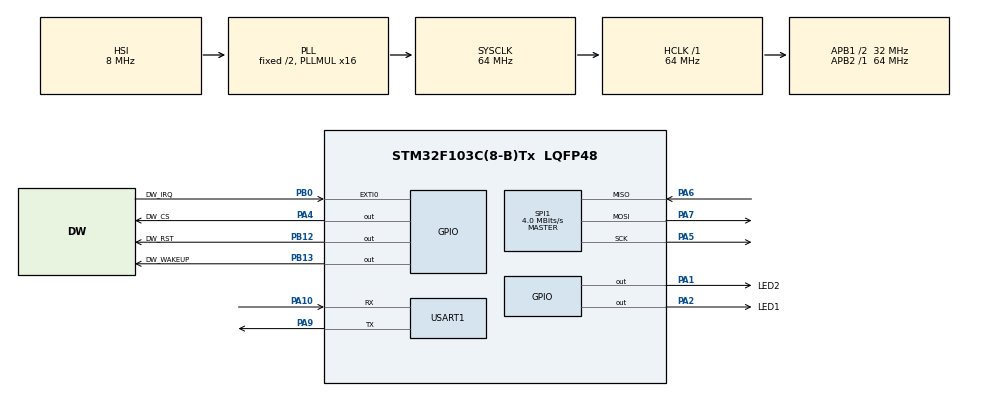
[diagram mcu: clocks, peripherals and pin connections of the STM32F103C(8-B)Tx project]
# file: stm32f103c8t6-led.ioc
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Mcu.Family=STM32F1
Mcu.Name=STM32F103C(8-B)Tx
Mcu.Package=LQFP48
NVIC.PriorityGroup=NVIC_PRIORITYGROUP_4
PA1.GPIO_Label=LED2
PA1.Signal=GPIO_Output
PA10.Mode=Asynchronous
PA10.Signal=USART1_RX
PA13.Mode=Serial_Wire
PA13.Signal=SYS_JTMS-SWDIO
PA14.Mode=Serial_Wire
PA14.Signal=SYS_JTCK-SWCLK
PA2.GPIO_Label=LED1
PA2.Signal=GPIO_Output
PA4.GPIO_Label=DW_CS
PA4.GPIO_Speed=GPIO_SPEED_FREQ_HIGH
PA4.PinState=GPIO_PIN_SET
PA4.Signal=GPIO_Output
PA5.Mode=Full_Duplex_Master
PA5.Signal=SPI1_SCK
PA6.Mode=Full_Duplex_Master
PA6.Signal=SPI1_MISO
PA7.Mode=Full_Duplex_Master
PA7.Signal=SPI1_MOSI
PA9.Mode=Asynchronous
PA9.Signal=USART1_TX
PB0.GPIO_Label=DW_IRQ
PB0.Signal=GPXTI0
PB12.GPIO_Label=DW_RST
PB12.GPIO_PuPd=GPIO_NOPULL
PB12.GPIO_Speed=GPIO_SPEED_FREQ_HIGH
PB12.PinState=GPIO_PIN_SET
PB12.Signal=GPIO_Output
PB13.GPIO_Label=DW_WAKEUP
PB13.GPIO_Speed=GPIO_SPEED_FREQ_HIGH
PB13.Signal=GPIO_Output
PD0-OSC_IN.Mode=HSE-External-Oscillator
PD0-OSC_IN.Signal=RCC_OSC_IN
PD1-OSC_OUT.Mode=HSE-External-Oscillator
PD1-OSC_OUT.Signal=RCC_OSC_OUT
ProjectManager.HeapSize=0x200
ProjectManager.StackSize=0x400
ProjectManager.TargetToolchain=CMake
RCC.AHBFreq_Value=64000000
RCC.APB1CLKDivider=RCC_HCLK_DIV2
RCC.APB1Freq_Value=32000000
RCC.APB1TimFreq_Value=64000000
RCC.APB2Freq_Value=64000000
RCC.APB2TimFreq_Value=64000000
RCC.HCLKFreq_Value=64000000
RCC.PLLMUL=RCC_PLL_MUL16
RCC.SYSCLKFreq_VALUE=64000000
RCC.SYSCLKSource=RCC_SYSCLKSOURCE_PLLCLK
RCC.USBFreq_Value=64000000
SPI1.BaudRatePrescaler=SPI_BAUDRATEPRESCALER_16
SPI1.CalculateBaudRate=4.0 MBits/s
SPI1.Direction=SPI_DIRECTION_2LINES
SPI1.Mode=SPI_MODE_MASTER
SPI1.VirtualType=VM_MASTER
USART1.VirtualMode=VM_ASYNC
board=custom

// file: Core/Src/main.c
/* USER CODE BEGIN Header */
/**
  ******************************************************************************
  * @file           : main.c
  * @brief          : BU01/DW1000 phase 1 self-test and phase 2 SS-TWR demo.
  ******************************************************************************
  */
/* USER CODE END Header */
#include "main.h"
#include "spi.h"
#include "usart.h"
#include "gpio.h"

/* USER CODE BEGIN Includes */
#include "deca_device_api.h"
#include "deca_regs.h"
#include "port.h"
#include <stdio.h>
#include <stdarg.h>
#include <string.h>
#include <math.h>
/* USER CODE END Includes */

/* USER CODE BEGIN PTD */
typedef struct
{
  int16_t rx_power_cdbm;
  int16_t fp_power_cdbm;
  int16_t power_gap_cdb;
  uint16_t fp_index_q6;
  uint16_t rx_pream_count;
  uint16_t flags;
} range_diag_t;
/* USER CODE END PTD */

/* USER CODE BEGIN PD */

/*
 * Compile-time role selector:
 *   DW_ROLE_SELFTEST          Phase 1: SPI/device-ID/IRQ/TX sanity test.
 *   DW_ROLE_INITIATOR_TAG     Phase 2: tag side, prints measured distance.
 *   DW_ROLE_RESPONDER_ANCHOR  Phase 2: anchor side, replies to tag polls.
 *   DW_ROLE_GATEWAY_A0        Phase 3: A0 gateway, replies to TAG and relays reports to PC.
 *   DW_ROLE_TAG_REPORTER      Phase 3: TAG, ranges with A0 and sends reports over UWB.
 */
#define DW_ROLE_SELFTEST 0
#define DW_ROLE_INITIATOR_TAG 1
#define DW_ROLE_RESPONDER_ANCHOR 2
#define DW_ROLE_GATEWAY_A0 3
#define DW_ROLE_TAG_REPORTER 4

#ifndef DW_APP_ROLE
#define DW_APP_ROLE DW_ROLE_SELFTEST
#endif

#ifndef ANCHOR_ID
#define ANCHOR_ID 0
#endif

#define DW_EXPECTED_DEV_ID 0xDECA0130UL
#define UART_LINE_MAX 320
#define SPEED_OF_LIGHT 299702547.0
#define UUS_TO_DWT_TIME 65536UL

#define TX_ANT_DLY 16436
#define RX_ANT_DLY 16436

#define ALL_MSG_COMMON_LEN 10
#define ALL_MSG_SN_IDX 2
#define POLL_MSG_TARGET_ID_IDX 10
#define RESP_MSG_POLL_RX_TS_IDX 10
#define RESP_MSG_RESP_TX_TS_IDX 14
#define RESP_MSG_TS_LEN 4
#define REPORT_MSG_CORR_CM_IDX 10
#define REPORT_MSG_RAW_CM_IDX 14
#define REPORT_MSG_STATUS_IDX 18
#define REPORT4_MSG_DIST0_IDX 10
#define REPORT4_MSG_DIST1_IDX 14
#define REPORT4_MSG_DIST2_IDX 18
#define REPORT4_MSG_DIST3_IDX 22
#define REPORT4_MSG_STATUS_IDX 26
#define REPORT4_MSG_DIAG_BASE_IDX 30
#define REPORT4_DIAG_STRIDE 12
#define REPORT4_MSG_LEN (REPORT4_MSG_DIAG_BASE_IDX + (4 * REPORT4_DIAG_STRIDE))
#define DIAG_RXPWR_CDBM_OFFSET 0
#define DIAG_FPPWR_CDBM_OFFSET 2
#define DIAG_GAP_CDB_OFFSET 4
#define DIAG_FP_INDEX_OFFSET 6
#define DIAG_RX_PACC_OFFSET 8
#define DIAG_FLAGS_OFFSET 10

#define RX_BUF_LEN 96
#define SELFTEST_PERIOD_MS 1000
#ifndef RNG_DELAY_MS
#define RNG_DELAY_MS 50
#endif
#ifndef INTER_ANCHOR_DELAY_MS
#define INTER_ANCHOR_DELAY_MS 0
#endif
#ifndef REPORT_TX_GUARD_MS
#define REPORT_TX_GUARD_MS 0
#endif
#ifndef POLL_TX_TO_RESP_RX_DLY_UUS
#define POLL_TX_TO_RESP_RX_DLY_UUS 180
#endif
#ifndef RESP_RX_TIMEOUT_UUS
#define RESP_RX_TIMEOUT_UUS 900
#endif
#ifndef POLL_RX_TO_RESP_TX_DLY_UUS
#define POLL_RX_TO_RESP_TX_DLY_UUS 650
#endif
#ifndef A0_VERBOSE_LOG
#define A0_VERBOSE_LOG 0
#endif

#define RANGE_BIAS_CM 0
/* USER CODE END PD */

/* USER CODE BEGIN PV */
static volatile uint32_t dw_irq_count = 0;

static dwt_config_t dw_config = {
  2,               /* Channel number. */
  DWT_PRF_64M,     /* Pulse repetition frequency. */
  DWT_PLEN_128,    /* Preamble length. */
  DWT_PAC8,        /* Preamble acquisition chunk size. */
  9,               /* TX preamble code. */
  9,               /* RX preamble code. */
  0,               /* Standard SFD. */
  DWT_BR_6M8,      /* Data rate. */
  DWT_PHRMODE_STD, /* PHY header mode. */
  (129 + 8 - 8)    /* SFD timeout. */
};

static uint8_t tx_poll_msg[] = {0x41, 0x88, 0, 0xCA, 0xDE, 'W', 'A', 'V', 'E', 0xE0, 0, 0, 0, 0};
static uint8_t rx_poll_msg[] = {0x41, 0x88, 0, 0xCA, 0xDE, 'W', 'A', 'V', 'E', 0xE0, 0, 0, 0, 0};
static uint8_t tx_resp_msg[] = {0x41, 0x88, 0, 0xCA, 0xDE, 'V', 'E', 'W', 'A', 0xE1, 0, 0, 0, 0, 0, 0, 0, 0, 0, 0};
static uint8_t rx_resp_msg[] = {0x41, 0x88, 0, 0xCA, 0xDE, 'V', 'E', 'W', 'A', 0xE1, 0, 0, 0, 0, 0, 0, 0, 0, 0, 0};
static uint8_t tx_report_msg[] = {0x41, 0x88, 0, 0xCA, 0xDE, 'A', '0', 'T', 'G', 0xE2, 0, 0, 0, 0, 0, 0, 0, 0, 0, 0, 0, 0, 0, 0};
static uint8_t rx_report_msg[] = {0x41, 0x88, 0, 0xCA, 0xDE, 'A', '0', 'T', 'G', 0xE2, 0, 0, 0, 0, 0, 0, 0, 0, 0, 0, 0, 0, 0, 0};
static uint8_t tx_report4_msg[REPORT4_MSG_LEN] = {0x41, 0x88, 0, 0xCA, 0xDE, 'A', '0', 'T', 'G', 0xE3};
static uint8_t rx_report4_msg[REPORT4_MSG_LEN] = {0x41, 0x88, 0, 0xCA, 0xDE, 'A', '0', 'T', 'G', 0xE3};
static uint8_t rx_buffer[RX_BUF_LEN];
static uint8_t frame_seq_nb = 0;
/* USER CODE END PV */

void SystemClock_Config(void);
/* USER CODE BEGIN PFP */
static void uart_log(const char *msg);
static void uart_printf(const char *fmt, ...);
static void dw_irq_gpio_init(void);
static int dw1000_init_and_configure(void);
static int wait_for_status(uint32_t ok_mask, uint32_t err_mask, uint32_t timeout_ms, uint32_t *status_out);
static void app_selftest_loop(void);
static void app_initiator_loop(void);
static void app_responder_loop(void);
static void app_gateway_a0_loop(void);
static void app_tag_reporter_loop(void);
static uint64_t get_rx_timestamp_u64(void);
static void resp_msg_set_ts(uint8_t *ts_field, uint64_t ts);
static void resp_msg_get_ts(uint8_t *ts_field, uint32_t *ts);
static void msg_set_i16(uint8_t *field, int16_t value);
static int16_t msg_get_i16(const uint8_t *field);
static void msg_set_u16(uint8_t *field, uint16_t value);
static uint16_t msg_get_u16(const uint8_t *field);
static void msg_set_i32(uint8_t *field, int32_t value);
static int32_t msg_get_i32(const uint8_t *field);
static int twr_poll_anchor(uint8_t anchor_id, int32_t *corrected_cm, int32_t *raw_cm, uint32_t *range_status, range_diag_t *diag);
static range_diag_t read_range_diag(void);
static void report4_set_diag(uint8_t anchor_id, const range_diag_t *diag);
static range_diag_t report4_get_diag(uint8_t anchor_id);
/* USER CODE END PFP */

/* USER CODE BEGIN 0 */
static void uart_log(const char *msg)
{
  HAL_UART_Transmit(&huart1, (uint8_t *)msg, (uint16_t)strlen(msg), HAL_MAX_DELAY);
}

static void uart_printf(const char *fmt, ...)
{
  char buffer[UART_LINE_MAX];
  va_list args;

  va_start(args, fmt);
  vsnprintf(buffer, sizeof(buffer), fmt, args);
  va_end(args);
  uart_log(buffer);
}

static void dw_irq_gpio_init(void)
{
  GPIO_InitTypeDef GPIO_InitStruct = {0};

  GPIO_InitStruct.Pin = DW_IRQ_Pin;
  GPIO_InitStruct.Mode = GPIO_MODE_IT_RISING;
  GPIO_InitStruct.Pull = GPIO_NOPULL;
  HAL_GPIO_Init(DW_IRQ_GPIO_Port, &GPIO_InitStruct);

  HAL_NVIC_SetPriority(EXTI0_IRQn, 2, 0);
  HAL_NVIC_EnableIRQ(EXTI0_IRQn);
}

static int dw1000_init_and_configure(void)
{
  uint32_t device_id;

  uart_log("\r\n[BU01] Boot\r\n");
  uart_log("[BU01] Reset DW1000\r\n");
  reset_DW1000();

  uart_log("[BU01] SPI slow init\r\n");
  port_set_dw1000_slowrate();
  if (dwt_initialise(DWT_LOADUCODE) == DWT_ERROR)
  {
    uart_log("[BU01] ERROR: dwt_initialise failed\r\n");
    return DWT_ERROR;
  }

  port_set_dw1000_fastrate();
  device_id = dwt_readdevid();
  uart_printf("[BU01] DEV_ID=0x%08lX\r\n", (unsigned long)device_id);

  if (device_id != DW_EXPECTED_DEV_ID)
  {
    uart_log("[BU01] ERROR: unexpected DEV_ID, check SPI/CS/RST wiring\r\n");
    return DWT_ERROR;
  }

  dwt_configure(&dw_config);
  dwt_setrxantennadelay(RX_ANT_DLY);
  dwt_settxantennadelay(TX_ANT_DLY);
  dwt_setinterrupt(DWT_INT_TFRS | DWT_INT_RFCG | DWT_INT_RFTO |
                   DWT_INT_RPHE | DWT_INT_RFCE | DWT_INT_RFSL |
                   DWT_INT_RXOVRR | DWT_INT_RXPTO | DWT_INT_SFDT,
                   1);

  uart_printf("[BU01] Config OK: ch=%u rate=%u preamble=%u\r\n",
              dw_config.chan,
              dw_config.dataRate,
              dw_config.txPreambLength);
  return DWT_SUCCESS;
}

static int wait_for_status(uint32_t ok_mask, uint32_t err_mask, uint32_t timeout_ms, uint32_t *status_out)
{
  uint32_t status;
  uint32_t start = HAL_GetTick();

  do
  {
    status = dwt_read32bitreg(SYS_STATUS_ID);
    if (status & ok_mask)
    {
      if (status_out != NULL)
      {
        *status_out = status;
      }
      return 1;
    }
    if (status & err_mask)
    {
      if (status_out != NULL)
      {
        *status_out = status;
      }
      return 0;
    }
  } while ((HAL_GetTick() - start) < timeout_ms);

  if (status_out != NULL)
  {
    *status_out = status;
  }
  return 0;
}

static void app_selftest_loop(void)
{
  static uint8_t tx_msg[] = {0xC5, 0, 'B', 'U', '0', '1', '-', 'T', 'E', 'S', 'T', 0, 0};
  uint32_t status = 0;
  uint32_t last_irq_count = 0;

  uart_log("[SELFTEST] Phase 1 active\r\n");
  uart_log("[SELFTEST] Expect: stable DEV_ID=0xDECA0130 and TX_OK every second\r\n");

  while (1)
  {
    tx_msg[1] = frame_seq_nb;

    dwt_write32bitreg(SYS_STATUS_ID, SYS_STATUS_TXFRS | SYS_STATUS_RXFCG | SYS_STATUS_ALL_RX_ERR | SYS_STATUS_ALL_RX_TO);
    dwt_writetxdata(sizeof(tx_msg), tx_msg, 0);
    dwt_writetxfctrl(sizeof(tx_msg), 0, 0);

    if (dwt_starttx(DWT_START_TX_IMMEDIATE) == DWT_SUCCESS &&
        wait_for_status(SYS_STATUS_TXFRS, SYS_STATUS_ALL_RX_ERR, 100, &status))
    {
      dwt_write32bitreg(SYS_STATUS_ID, SYS_STATUS_TXFRS);
      uart_printf("[SELFTEST] TX_OK seq=%u irq_total=%lu irq_delta=%lu status=0x%08lX\r\n",
                  frame_seq_nb,
                  (unsigned long)dw_irq_count,
                  (unsigned long)(dw_irq_count - last_irq_count),
                  (unsigned long)status);
      frame_seq_nb++;
      last_irq_count = dw_irq_count;
      HAL_GPIO_TogglePin(LED1_GPIO_Port, LED1_Pin);
    }
    else
    {
      uart_printf("[SELFTEST] TX_FAIL seq=%u status=0x%08lX\r\n",
                  frame_seq_nb,
                  (unsigned long)status);
      dwt_write32bitreg(SYS_STATUS_ID, SYS_STATUS_TXFRS | SYS_STATUS_ALL_RX_ERR | SYS_STATUS_ALL_RX_TO);
      dwt_rxreset();
      HAL_GPIO_TogglePin(LED2_GPIO_Port, LED2_Pin);
    }

    uart_printf("[SELFTEST] DEV_ID=0x%08lX\r\n", (unsigned long)dwt_readdevid());
    HAL_Delay(SELFTEST_PERIOD_MS);
  }
}

static void app_initiator_loop(void)
{
  uint32_t status = 0;

  dwt_setrxaftertxdelay(POLL_TX_TO_RESP_RX_DLY_UUS);
  dwt_setrxtimeout(RESP_RX_TIMEOUT_UUS);

  uart_log("[TAG] Phase 2 SS-TWR initiator active\r\n");
  uart_log("[TAG] CSV: RANGE,seq,corrected_cm,raw_cm,status_hex\r\n");

  while (1)
  {
    tx_poll_msg[ALL_MSG_SN_IDX] = frame_seq_nb;
    tx_poll_msg[POLL_MSG_TARGET_ID_IDX] = 0;
    dwt_write32bitreg(SYS_STATUS_ID, SYS_STATUS_TXFRS | SYS_STATUS_RXFCG | SYS_STATUS_ALL_RX_ERR | SYS_STATUS_ALL_RX_TO);
    dwt_writetxdata(sizeof(tx_poll_msg), tx_poll_msg, 0);
    dwt_writetxfctrl(sizeof(tx_poll_msg), 0, 1);

    if (dwt_starttx(DWT_START_TX_IMMEDIATE | DWT_RESPONSE_EXPECTED) != DWT_SUCCESS)
    {
      uart_printf("[TAG] START_TX_FAIL seq=%u\r\n", frame_seq_nb);
      HAL_Delay(RNG_DELAY_MS);
      continue;
    }

    if (wait_for_status(SYS_STATUS_RXFCG, SYS_STATUS_ALL_RX_TO | SYS_STATUS_ALL_RX_ERR, 20, &status))
    {
      uint32_t frame_len;

      dwt_write32bitreg(SYS_STATUS_ID, SYS_STATUS_RXFCG);
      frame_len = dwt_read32bitreg(RX_FINFO_ID) & RX_FINFO_RXFL_MASK_1023;
      memset(rx_buffer, 0, sizeof(rx_buffer));
      if (frame_len <= RX_BUF_LEN)
      {
        dwt_readrxdata(rx_buffer, frame_len, 0);
      }

      rx_buffer[ALL_MSG_SN_IDX] = 0;
      if (memcmp(rx_buffer, rx_resp_msg, ALL_MSG_COMMON_LEN) == 0)
      {
        uint32_t poll_tx_ts;
        uint32_t resp_rx_ts;
        uint32_t poll_rx_ts;
        uint32_t resp_tx_ts;
        int32_t rtd_init;
        int32_t rtd_resp;
        double clock_offset_ratio;
        double tof;
        double distance_m;
        int32_t raw_distance_cm;
        int32_t corrected_distance_cm;

        poll_tx_ts = dwt_readtxtimestamplo32();
        resp_rx_ts = dwt_readrxtimestamplo32();
        clock_offset_ratio = dwt_readcarrierintegrator() *
                             (FREQ_OFFSET_MULTIPLIER * HERTZ_TO_PPM_MULTIPLIER_CHAN_2 / 1.0e6);

        resp_msg_get_ts(&rx_buffer[RESP_MSG_POLL_RX_TS_IDX], &poll_rx_ts);
        resp_msg_get_ts(&rx_buffer[RESP_MSG_RESP_TX_TS_IDX], &resp_tx_ts);

        rtd_init = (int32_t)(resp_rx_ts - poll_tx_ts);
        rtd_resp = (int32_t)(resp_tx_ts - poll_rx_ts);
        tof = ((rtd_init - rtd_resp * (1.0 - clock_offset_ratio)) / 2.0) * DWT_TIME_UNITS;
        distance_m = tof * SPEED_OF_LIGHT;
        raw_distance_cm = (int32_t)(distance_m * 100.0);
        corrected_distance_cm = raw_distance_cm + RANGE_BIAS_CM;

        uart_printf("RANGE,%u,%ld,%ld,0x%08lX\r\n",
                    frame_seq_nb,
                    (long)corrected_distance_cm,
                    (long)raw_distance_cm,
                    (unsigned long)status);
        HAL_GPIO_TogglePin(LED1_GPIO_Port, LED1_Pin);
      }
      else
      {
        uart_printf("[TAG] RX_UNEXPECTED seq=%u len=%lu status=0x%08lX\r\n",
                    frame_seq_nb,
                    (unsigned long)frame_len,
                    (unsigned long)status);
      }
    }
    else
    {
      uart_printf("[TAG] RX_TIMEOUT_OR_ERR seq=%u status=0x%08lX\r\n",
                  frame_seq_nb,
                  (unsigned long)status);
      dwt_write32bitreg(SYS_STATUS_ID, SYS_STATUS_ALL_RX_TO | SYS_STATUS_ALL_RX_ERR);
      dwt_rxreset();
      HAL_GPIO_TogglePin(LED2_GPIO_Port, LED2_Pin);
    }

    frame_seq_nb++;
    HAL_Delay(RNG_DELAY_MS);
  }
}

static void app_responder_loop(void)
{
  uint32_t status = 0;
  uint32_t last_heartbeat = HAL_GetTick();

  uart_log("[ANCHOR] Phase 2 SS-TWR responder active\r\n");

  while (1)
  {
    if ((HAL_GetTick() - last_heartbeat) >= 500)
    {
      last_heartbeat = HAL_GetTick();
      HAL_GPIO_TogglePin(LED2_GPIO_Port, LED2_Pin);
    }

    dwt_rxenable(DWT_START_RX_IMMEDIATE);

    if (wait_for_status(SYS_STATUS_RXFCG, SYS_STATUS_ALL_RX_ERR, 1000, &status))
    {
      uint32_t frame_len;

      dwt_write32bitreg(SYS_STATUS_ID, SYS_STATUS_RXFCG);
      frame_len = dwt_read32bitreg(RX_FINFO_ID) & RX_FINFO_RXFL_MASK_1023;
      memset(rx_buffer, 0, sizeof(rx_buffer));
      if (frame_len <= RX_BUF_LEN)
      {
        dwt_readrxdata(rx_buffer, frame_len, 0);
      }

      rx_buffer[ALL_MSG_SN_IDX] = 0;
      if (memcmp(rx_buffer, rx_poll_msg, ALL_MSG_COMMON_LEN) == 0 &&
          rx_buffer[POLL_MSG_TARGET_ID_IDX] == ANCHOR_ID)
      {
        uint64_t poll_rx_ts;
        uint64_t resp_tx_ts;
        uint32_t resp_tx_time;
        int ret;

        poll_rx_ts = get_rx_timestamp_u64();
        HAL_GPIO_TogglePin(LED2_GPIO_Port, LED2_Pin);
        resp_tx_time = (uint32_t)((poll_rx_ts + (POLL_RX_TO_RESP_TX_DLY_UUS * UUS_TO_DWT_TIME)) >> 8);
        dwt_setdelayedtrxtime(resp_tx_time);

        resp_tx_ts = (((uint64_t)(resp_tx_time & 0xFFFFFFFEUL)) << 8) + TX_ANT_DLY;
        resp_msg_set_ts(&tx_resp_msg[RESP_MSG_POLL_RX_TS_IDX], poll_rx_ts);
        resp_msg_set_ts(&tx_resp_msg[RESP_MSG_RESP_TX_TS_IDX], resp_tx_ts);

        tx_resp_msg[ALL_MSG_SN_IDX] = frame_seq_nb;
        dwt_writetxdata(sizeof(tx_resp_msg), tx_resp_msg, 0);
        dwt_writetxfctrl(sizeof(tx_resp_msg), 0, 1);
        ret = dwt_starttx(DWT_START_TX_DELAYED);

        if (ret == DWT_SUCCESS && wait_for_status(SYS_STATUS_TXFRS, SYS_STATUS_ALL_RX_ERR, 10, &status))
        {
          dwt_write32bitreg(SYS_STATUS_ID, SYS_STATUS_TXFRS);
          uart_printf("[ANCHOR] RESP_OK seq=%u irq_total=%lu\r\n",
                      frame_seq_nb,
                      (unsigned long)dw_irq_count);
          frame_seq_nb++;
          HAL_GPIO_TogglePin(LED1_GPIO_Port, LED1_Pin);
        }
        else
        {
          uart_printf("[ANCHOR] RESP_TX_LATE_OR_FAIL ret=%d status=0x%08lX\r\n",
                      ret,
                      (unsigned long)status);
          dwt_write32bitreg(SYS_STATUS_ID, SYS_STATUS_TXFRS | SYS_STATUS_ALL_RX_ERR);
        }
      }
    }
    else
    {
      dwt_write32bitreg(SYS_STATUS_ID, SYS_STATUS_ALL_RX_ERR | SYS_STATUS_ALL_RX_TO);
      dwt_rxreset();
    }
  }
}

static void app_gateway_a0_loop(void)
{
  uint32_t status = 0;
  uint32_t last_heartbeat = HAL_GetTick();
  uint32_t poll_count = 0;
  uint32_t report4_count = 0;
  uint32_t rx_error_count = 0;
  uint32_t rx_good_count = 0;
  uint32_t unknown_count = 0;
  uint32_t last_debug = HAL_GetTick();
  uint32_t last_unknown_log = 0;

  uart_log("[A0] Gateway anchor active\r\n");
  uart_log("[A0] CSV: RANGE4D,seq,d0_cm,d1_cm,d2_cm,d3_cm,status_hex,pc_ms,rxpwr0_cdbm,fppwr0_cdbm,gap0_cdb,fpidx0_q6,rxpacc0,...\r\n");

  while (1)
  {
    if ((HAL_GetTick() - last_heartbeat) >= 500)
    {
      last_heartbeat = HAL_GetTick();
      HAL_GPIO_TogglePin(LED2_GPIO_Port, LED2_Pin);
    }

    if (A0_VERBOSE_LOG && (HAL_GetTick() - last_debug) >= 3000)
    {
      last_debug = HAL_GetTick();
      uart_printf("[A0] alive rxgood=%lu polls=%lu report4=%lu unknown=%lu rxerr=%lu irq=%lu\r\n",
                  (unsigned long)rx_good_count,
                  (unsigned long)poll_count,
                  (unsigned long)report4_count,
                  (unsigned long)unknown_count,
                  (unsigned long)rx_error_count,
                  (unsigned long)dw_irq_count);
    }

    dwt_rxenable(DWT_START_RX_IMMEDIATE);

    if (wait_for_status(SYS_STATUS_RXFCG, SYS_STATUS_ALL_RX_ERR, 1000, &status))
    {
      uint32_t frame_len;
      uint8_t frame_type;
      uint8_t target_id;

      dwt_write32bitreg(SYS_STATUS_ID, SYS_STATUS_RXFCG);
      frame_len = dwt_read32bitreg(RX_FINFO_ID) & RX_FINFO_RXFL_MASK_1023;
      memset(rx_buffer, 0, sizeof(rx_buffer));
      if (frame_len <= RX_BUF_LEN)
      {
        dwt_readrxdata(rx_buffer, frame_len, 0);
      }

      uint8_t received_seq = rx_buffer[ALL_MSG_SN_IDX];
      frame_type = rx_buffer[9];
      target_id = rx_buffer[POLL_MSG_TARGET_ID_IDX];
      rx_good_count++;
      rx_buffer[ALL_MSG_SN_IDX] = 0;
      if (memcmp(rx_buffer, rx_poll_msg, ALL_MSG_COMMON_LEN) == 0 &&
          rx_buffer[POLL_MSG_TARGET_ID_IDX] == 0)
      {
        uint64_t poll_rx_ts;
        uint64_t resp_tx_ts;
        uint32_t resp_tx_time;
        int ret;

        poll_rx_ts = get_rx_timestamp_u64();
        resp_tx_time = (uint32_t)((poll_rx_ts + (POLL_RX_TO_RESP_TX_DLY_UUS * UUS_TO_DWT_TIME)) >> 8);
        dwt_setdelayedtrxtime(resp_tx_time);

        resp_tx_ts = (((uint64_t)(resp_tx_time & 0xFFFFFFFEUL)) << 8) + TX_ANT_DLY;
        resp_msg_set_ts(&tx_resp_msg[RESP_MSG_POLL_RX_TS_IDX], poll_rx_ts);
        resp_msg_set_ts(&tx_resp_msg[RESP_MSG_RESP_TX_TS_IDX], resp_tx_ts);

        tx_resp_msg[ALL_MSG_SN_IDX] = frame_seq_nb;
        dwt_writetxdata(sizeof(tx_resp_msg), tx_resp_msg, 0);
        dwt_writetxfctrl(sizeof(tx_resp_msg), 0, 1);
        ret = dwt_starttx(DWT_START_TX_DELAYED);

        if (ret == DWT_SUCCESS && wait_for_status(SYS_STATUS_TXFRS, SYS_STATUS_ALL_RX_ERR, 50, &status))
        {
          dwt_write32bitreg(SYS_STATUS_ID, SYS_STATUS_TXFRS);
          frame_seq_nb++;
          poll_count++;
          HAL_GPIO_TogglePin(LED1_GPIO_Port, LED1_Pin);
        }
        else
        {
          uart_printf("[A0] RESP_TX_FAIL ret=%d status=0x%08lX\r\n",
                      ret,
                      (unsigned long)status);
          dwt_write32bitreg(SYS_STATUS_ID, SYS_STATUS_TXFRS | SYS_STATUS_ALL_RX_ERR);
        }
      }
      else if (frame_len >= sizeof(rx_report_msg) &&
               memcmp(rx_buffer, rx_report_msg, ALL_MSG_COMMON_LEN) == 0)
      {
        int32_t corrected_cm = msg_get_i32(&rx_buffer[REPORT_MSG_CORR_CM_IDX]);
        int32_t raw_cm = msg_get_i32(&rx_buffer[REPORT_MSG_RAW_CM_IDX]);
        int32_t report_status = msg_get_i32(&rx_buffer[REPORT_MSG_STATUS_IDX]);

        uart_printf("RELAY,%u,%ld,%ld,0x%08lX,%lu\r\n",
                    received_seq,
                    (long)corrected_cm,
                    (long)raw_cm,
                    (unsigned long)report_status,
                    (unsigned long)HAL_GetTick());
        HAL_GPIO_TogglePin(LED1_GPIO_Port, LED1_Pin);
      }
      else if (frame_len >= sizeof(rx_report4_msg) &&
               memcmp(rx_buffer, rx_report4_msg, ALL_MSG_COMMON_LEN) == 0)
      {
        int32_t d0_cm = msg_get_i32(&rx_buffer[REPORT4_MSG_DIST0_IDX]);
        int32_t d1_cm = msg_get_i32(&rx_buffer[REPORT4_MSG_DIST1_IDX]);
        int32_t d2_cm = msg_get_i32(&rx_buffer[REPORT4_MSG_DIST2_IDX]);
        int32_t d3_cm = msg_get_i32(&rx_buffer[REPORT4_MSG_DIST3_IDX]);
        int32_t report_status = msg_get_i32(&rx_buffer[REPORT4_MSG_STATUS_IDX]);
        range_diag_t diag0 = report4_get_diag(0);
        range_diag_t diag1 = report4_get_diag(1);
        range_diag_t diag2 = report4_get_diag(2);
        range_diag_t diag3 = report4_get_diag(3);

        report4_count++;
        uart_printf("RANGE4D,%u,%ld,%ld,%ld,%ld,0x%08lX,%lu,"
                    "%d,%d,%d,%u,%u,%d,%d,%d,%u,%u,"
                    "%d,%d,%d,%u,%u,%d,%d,%d,%u,%u\r\n",
                    received_seq,
                    (long)d0_cm,
                    (long)d1_cm,
                    (long)d2_cm,
                    (long)d3_cm,
                    (unsigned long)report_status,
                    (unsigned long)HAL_GetTick(),
                    diag0.rx_power_cdbm, diag0.fp_power_cdbm, diag0.power_gap_cdb, diag0.fp_index_q6, diag0.rx_pream_count,
                    diag1.rx_power_cdbm, diag1.fp_power_cdbm, diag1.power_gap_cdb, diag1.fp_index_q6, diag1.rx_pream_count,
                    diag2.rx_power_cdbm, diag2.fp_power_cdbm, diag2.power_gap_cdb, diag2.fp_index_q6, diag2.rx_pream_count,
                    diag3.rx_power_cdbm, diag3.fp_power_cdbm, diag3.power_gap_cdb, diag3.fp_index_q6, diag3.rx_pream_count);
        HAL_GPIO_TogglePin(LED1_GPIO_Port, LED1_Pin);
      }
      else
      {
        unknown_count++;
        if (A0_VERBOSE_LOG && (HAL_GetTick() - last_unknown_log) >= 1000)
        {
          last_unknown_log = HAL_GetTick();
          uart_printf("[A0] unknown seq=%u type=0x%02X target=%u len=%lu status=0x%08lX\r\n",
                      received_seq,
                      frame_type,
                      target_id,
                      (unsigned long)frame_len,
                      (unsigned long)status);
        }
      }
    }
    else
    {
      rx_error_count++;
      dwt_write32bitreg(SYS_STATUS_ID, SYS_STATUS_ALL_RX_ERR | SYS_STATUS_ALL_RX_TO);
      dwt_rxreset();
    }
  }
}

static void app_tag_reporter_loop(void)
{
  uint32_t status = 0;
  int32_t corrected_cm[4] = {0};
  int32_t raw_cm = 0;
  range_diag_t diag[4] = {0};
  uint32_t range_status = 0;
  uint32_t report_status = 0;

  dwt_setrxaftertxdelay(POLL_TX_TO_RESP_RX_DLY_UUS);
  dwt_setrxtimeout(RESP_RX_TIMEOUT_UUS);

  uart_log("[TAG-REPORT] Active: range with A0-A3, then report RANGE4 by UWB\r\n");

  while (1)
  {
    report_status = 0;
    for (uint8_t anchor_id = 0; anchor_id < 4; anchor_id++)
    {
      memset(&diag[anchor_id], 0, sizeof(diag[anchor_id]));
      if (twr_poll_anchor(anchor_id, &corrected_cm[anchor_id], &raw_cm, &range_status, &diag[anchor_id]))
      {
        report_status |= (1UL << anchor_id);
      }
      else
      {
        corrected_cm[anchor_id] = -1;
      }
      if (INTER_ANCHOR_DELAY_MS > 0)
      {
        HAL_Delay(INTER_ANCHOR_DELAY_MS);
      }
    }

    if (report_status != 0)
    {
      if (REPORT_TX_GUARD_MS > 0)
      {
        HAL_Delay(REPORT_TX_GUARD_MS);
      }
      tx_report4_msg[ALL_MSG_SN_IDX] = frame_seq_nb;
      msg_set_i32(&tx_report4_msg[REPORT4_MSG_DIST0_IDX], corrected_cm[0]);
      msg_set_i32(&tx_report4_msg[REPORT4_MSG_DIST1_IDX], corrected_cm[1]);
      msg_set_i32(&tx_report4_msg[REPORT4_MSG_DIST2_IDX], corrected_cm[2]);
      msg_set_i32(&tx_report4_msg[REPORT4_MSG_DIST3_IDX], corrected_cm[3]);
      msg_set_i32(&tx_report4_msg[REPORT4_MSG_STATUS_IDX], (int32_t)report_status);
      for (uint8_t anchor_id = 0; anchor_id < 4; anchor_id++)
      {
        report4_set_diag(anchor_id, &diag[anchor_id]);
      }

      dwt_write32bitreg(SYS_STATUS_ID, SYS_STATUS_TXFRS | SYS_STATUS_RXFCG | SYS_STATUS_ALL_RX_ERR | SYS_STATUS_ALL_RX_TO);
      dwt_writetxdata(sizeof(tx_report4_msg), tx_report4_msg, 0);
      dwt_writetxfctrl(sizeof(tx_report4_msg), 0, 0);

      if (dwt_starttx(DWT_START_TX_IMMEDIATE) == DWT_SUCCESS &&
          wait_for_status(SYS_STATUS_TXFRS, SYS_STATUS_ALL_RX_ERR, 100, &status))
      {
        dwt_write32bitreg(SYS_STATUS_ID, SYS_STATUS_TXFRS);
        uart_printf("[TAG-REPORT] SENT4 seq=%u d0=%ld d1=%ld d2=%ld d3=%ld mask=0x%02lX\r\n",
                    frame_seq_nb,
                    (long)corrected_cm[0],
                    (long)corrected_cm[1],
                    (long)corrected_cm[2],
                    (long)corrected_cm[3],
                    (unsigned long)report_status);
        HAL_GPIO_TogglePin(LED1_GPIO_Port, LED1_Pin);
      }
      else
      {
        uart_printf("[TAG-REPORT] REPORT_TX_FAIL seq=%u status=0x%08lX\r\n",
                    frame_seq_nb,
                    (unsigned long)status);
        dwt_write32bitreg(SYS_STATUS_ID, SYS_STATUS_TXFRS | SYS_STATUS_ALL_RX_ERR);
        HAL_GPIO_TogglePin(LED2_GPIO_Port, LED2_Pin);
      }
    }
    else
    {
      uart_printf("[TAG-REPORT] RANGE4_ALL_FAIL seq=%u status=0x%08lX\r\n",
                  frame_seq_nb,
                  (unsigned long)range_status);
      HAL_GPIO_TogglePin(LED2_GPIO_Port, LED2_Pin);
    }

    frame_seq_nb++;
    HAL_Delay(RNG_DELAY_MS);
  }
}

static int twr_poll_anchor(uint8_t anchor_id, int32_t *corrected_cm, int32_t *raw_cm, uint32_t *range_status, range_diag_t *diag)
{
  uint32_t status = 0;

  tx_poll_msg[ALL_MSG_SN_IDX] = frame_seq_nb;
  tx_poll_msg[POLL_MSG_TARGET_ID_IDX] = anchor_id;
  dwt_write32bitreg(SYS_STATUS_ID, SYS_STATUS_TXFRS | SYS_STATUS_RXFCG | SYS_STATUS_ALL_RX_ERR | SYS_STATUS_ALL_RX_TO);
  dwt_writetxdata(sizeof(tx_poll_msg), tx_poll_msg, 0);
  dwt_writetxfctrl(sizeof(tx_poll_msg), 0, 1);

  if (dwt_starttx(DWT_START_TX_IMMEDIATE | DWT_RESPONSE_EXPECTED) != DWT_SUCCESS)
  {
    *range_status = 0;
    return 0;
  }

  if (wait_for_status(SYS_STATUS_RXFCG, SYS_STATUS_ALL_RX_TO | SYS_STATUS_ALL_RX_ERR, 20, &status))
  {
    uint32_t frame_len;

    dwt_write32bitreg(SYS_STATUS_ID, SYS_STATUS_RXFCG);
    frame_len = dwt_read32bitreg(RX_FINFO_ID) & RX_FINFO_RXFL_MASK_1023;
    memset(rx_buffer, 0, sizeof(rx_buffer));
    if (frame_len <= RX_BUF_LEN)
    {
      dwt_readrxdata(rx_buffer, frame_len, 0);
    }

    rx_buffer[ALL_MSG_SN_IDX] = 0;
    if (memcmp(rx_buffer, rx_resp_msg, ALL_MSG_COMMON_LEN) == 0)
    {
      uint32_t poll_tx_ts;
      uint32_t resp_rx_ts;
      uint32_t poll_rx_ts;
      uint32_t resp_tx_ts;
      int32_t rtd_init;
      int32_t rtd_resp;
      double clock_offset_ratio;
      double tof;
      double distance_m;

      poll_tx_ts = dwt_readtxtimestamplo32();
      resp_rx_ts = dwt_readrxtimestamplo32();
      clock_offset_ratio = dwt_readcarrierintegrator() *
                           (FREQ_OFFSET_MULTIPLIER * HERTZ_TO_PPM_MULTIPLIER_CHAN_2 / 1.0e6);

      resp_msg_get_ts(&rx_buffer[RESP_MSG_POLL_RX_TS_IDX], &poll_rx_ts);
      resp_msg_get_ts(&rx_buffer[RESP_MSG_RESP_TX_TS_IDX], &resp_tx_ts);

      rtd_init = (int32_t)(resp_rx_ts - poll_tx_ts);
      rtd_resp = (int32_t)(resp_tx_ts - poll_rx_ts);
      tof = ((rtd_init - rtd_resp * (1.0 - clock_offset_ratio)) / 2.0) * DWT_TIME_UNITS;
      distance_m = tof * SPEED_OF_LIGHT;
      *raw_cm = (int32_t)(distance_m * 100.0);
      *corrected_cm = *raw_cm + RANGE_BIAS_CM;
      if (diag != NULL)
      {
        *diag = read_range_diag();
      }
      *range_status = status;
      return 1;
    }
  }

  *range_status = status;
  dwt_write32bitreg(SYS_STATUS_ID, SYS_STATUS_ALL_RX_TO | SYS_STATUS_ALL_RX_ERR);
  dwt_rxreset();
  return 0;
}

static range_diag_t read_range_diag(void)
{
  dwt_rxdiag_t raw;
  range_diag_t diag = {0};
  double rx_power_dbm = -999.0;
  double fp_power_dbm = -999.0;
  double n2;
  double fp_sum;

  dwt_readdiagnostics(&raw);
  diag.fp_index_q6 = raw.firstPath;
  diag.rx_pream_count = raw.rxPreamCount;

  if (raw.rxPreamCount > 0)
  {
    n2 = (double)raw.rxPreamCount * (double)raw.rxPreamCount;
    if (raw.maxGrowthCIR > 0)
    {
      rx_power_dbm = 10.0 * log10(((double)raw.maxGrowthCIR * 131072.0) / n2) - 121.74;
    }

    fp_sum = ((double)raw.firstPathAmp1 * (double)raw.firstPathAmp1) +
             ((double)raw.firstPathAmp2 * (double)raw.firstPathAmp2) +
             ((double)raw.firstPathAmp3 * (double)raw.firstPathAmp3);
    if (fp_sum > 0.0)
    {
      fp_power_dbm = 10.0 * log10(fp_sum / n2) - 121.74;
    }
  }

  diag.rx_power_cdbm = (int16_t)(rx_power_dbm * 100.0);
  diag.fp_power_cdbm = (int16_t)(fp_power_dbm * 100.0);
  diag.power_gap_cdb = (int16_t)((rx_power_dbm - fp_power_dbm) * 100.0);
  if (diag.power_gap_cdb > 1000)
  {
    diag.flags |= 0x0001; /* likely NLOS / strong multipath, tune threshold with field data. */
  }
  if ((raw.firstPathAmp1 == 0U) || (raw.rxPreamCount == 0U))
  {
    diag.flags |= 0x0002;
  }

  return diag;
}

static void report4_set_diag(uint8_t anchor_id, const range_diag_t *diag)
{
  uint8_t *base = &tx_report4_msg[REPORT4_MSG_DIAG_BASE_IDX + (anchor_id * REPORT4_DIAG_STRIDE)];

  msg_set_i16(&base[DIAG_RXPWR_CDBM_OFFSET], diag->rx_power_cdbm);
  msg_set_i16(&base[DIAG_FPPWR_CDBM_OFFSET], diag->fp_power_cdbm);
  msg_set_i16(&base[DIAG_GAP_CDB_OFFSET], diag->power_gap_cdb);
  msg_set_u16(&base[DIAG_FP_INDEX_OFFSET], diag->fp_index_q6);
  msg_set_u16(&base[DIAG_RX_PACC_OFFSET], diag->rx_pream_count);
  msg_set_u16(&base[DIAG_FLAGS_OFFSET], diag->flags);
}

static range_diag_t report4_get_diag(uint8_t anchor_id)
{
  const uint8_t *base = &rx_buffer[REPORT4_MSG_DIAG_BASE_IDX + (anchor_id * REPORT4_DIAG_STRIDE)];
  range_diag_t diag;

  diag.rx_power_cdbm = msg_get_i16(&base[DIAG_RXPWR_CDBM_OFFSET]);
  diag.fp_power_cdbm = msg_get_i16(&base[DIAG_FPPWR_CDBM_OFFSET]);
  diag.power_gap_cdb = msg_get_i16(&base[DIAG_GAP_CDB_OFFSET]);
  diag.fp_index_q6 = msg_get_u16(&base[DIAG_FP_INDEX_OFFSET]);
  diag.rx_pream_count = msg_get_u16(&base[DIAG_RX_PACC_OFFSET]);
  diag.flags = msg_get_u16(&base[DIAG_FLAGS_OFFSET]);

  return diag;
}

static uint64_t get_rx_timestamp_u64(void)
{
  uint8_t ts_tab[5];
  uint64_t ts = 0;

  dwt_readrxtimestamp(ts_tab);
  for (int i = 4; i >= 0; i--)
  {
    ts <<= 8;
    ts |= ts_tab[i];
  }
  return ts;
}

static void resp_msg_set_ts(uint8_t *ts_field, uint64_t ts)
{
  for (int i = 0; i < RESP_MSG_TS_LEN; i++)
  {
    ts_field[i] = (uint8_t)(ts >> (i * 8));
  }
}

static void resp_msg_get_ts(uint8_t *ts_field, uint32_t *ts)
{
  *ts = 0;
  for (int i = 0; i < RESP_MSG_TS_LEN; i++)
  {
    *ts += ((uint32_t)ts_field[i]) << (i * 8);
  }
}

static void msg_set_i16(uint8_t *field, int16_t value)
{
  uint16_t uvalue = (uint16_t)value;

  field[0] = (uint8_t)uvalue;
  field[1] = (uint8_t)(uvalue >> 8);
}

static int16_t msg_get_i16(const uint8_t *field)
{
  uint16_t value = ((uint16_t)field[0]) |
                   (((uint16_t)field[1]) << 8);

  return (int16_t)value;
}

static void msg_set_u16(uint8_t *field, uint16_t value)
{
  field[0] = (uint8_t)value;
  field[1] = (uint8_t)(value >> 8);
}

static uint16_t msg_get_u16(const uint8_t *field)
{
  return ((uint16_t)field[0]) |
         (((uint16_t)field[1]) << 8);
}

static void msg_set_i32(uint8_t *field, int32_t value)
{
  uint32_t uvalue = (uint32_t)value;

  field[0] = (uint8_t)(uvalue);
  field[1] = (uint8_t)(uvalue >> 8);
  field[2] = (uint8_t)(uvalue >> 16);
  field[3] = (uint8_t)(uvalue >> 24);
}

static int32_t msg_get_i32(const uint8_t *field)
{
  uint32_t value = ((uint32_t)field[0]) |
                   (((uint32_t)field[1]) << 8) |
                   (((uint32_t)field[2]) << 16) |
                   (((uint32_t)field[3]) << 24);

  return (int32_t)value;
}
/* USER CODE END 0 */

int main(void)
{
  /* MCU Configuration--------------------------------------------------------*/
  HAL_Init();
  SystemClock_Config();

  MX_GPIO_Init();
  MX_SPI1_Init();
  MX_USART1_UART_Init();

  /* USER CODE BEGIN 2 */
  HAL_GPIO_WritePin(LED1_GPIO_Port, LED1_Pin, GPIO_PIN_SET);
  HAL_GPIO_WritePin(LED2_GPIO_Port, LED2_Pin, GPIO_PIN_RESET);
  dw_irq_gpio_init();

  if (dw1000_init_and_configure() != DWT_SUCCESS)
  {
    while (1)
    {
      uart_log("[BU01] HALTED: fix SPI/CS/RST/3V3 then reset board\r\n");
      HAL_GPIO_TogglePin(LED2_GPIO_Port, LED2_Pin);
      HAL_Delay(1000);
    }
  }

  switch (DW_APP_ROLE)
  {
    case DW_ROLE_INITIATOR_TAG:
      app_initiator_loop();
      break;

    case DW_ROLE_RESPONDER_ANCHOR:
      app_responder_loop();
      break;

    case DW_ROLE_GATEWAY_A0:
      app_gateway_a0_loop();
      break;

    case DW_ROLE_TAG_REPORTER:
      app_tag_reporter_loop();
      break;

    case DW_ROLE_SELFTEST:
    default:
      app_selftest_loop();
      break;
  }
  /* USER CODE END 2 */

  while (1)
  {
  }
}

void SystemClock_Config(void)
{
  RCC_OscInitTypeDef RCC_OscInitStruct = {0};
  RCC_ClkInitTypeDef RCC_ClkInitStruct = {0};

  RCC_OscInitStruct.OscillatorType = RCC_OSCILLATORTYPE_HSI;
  RCC_OscInitStruct.HSIState = RCC_HSI_ON;
  RCC_OscInitStruct.HSICalibrationValue = RCC_HSICALIBRATION_DEFAULT;
  RCC_OscInitStruct.PLL.PLLState = RCC_PLL_ON;
  RCC_OscInitStruct.PLL.PLLSource = RCC_PLLSOURCE_HSI_DIV2;
  RCC_OscInitStruct.PLL.PLLMUL = RCC_PLL_MUL16;
  if (HAL_RCC_OscConfig(&RCC_OscInitStruct) != HAL_OK)
  {
    Error_Handler();
  }

  RCC_ClkInitStruct.ClockType = RCC_CLOCKTYPE_HCLK | RCC_CLOCKTYPE_SYSCLK |
                                RCC_CLOCKTYPE_PCLK1 | RCC_CLOCKTYPE_PCLK2;
  RCC_ClkInitStruct.SYSCLKSource = RCC_SYSCLKSOURCE_PLLCLK;
  RCC_ClkInitStruct.AHBCLKDivider = RCC_SYSCLK_DIV1;
  RCC_ClkInitStruct.APB1CLKDivider = RCC_HCLK_DIV2;
  RCC_ClkInitStruct.APB2CLKDivider = RCC_HCLK_DIV1;

  if (HAL_RCC_ClockConfig(&RCC_ClkInitStruct, FLASH_LATENCY_2) != HAL_OK)
  {
    Error_Handler();
  }
}

/* USER CODE BEGIN 4 */
void HAL_GPIO_EXTI_Callback(uint16_t GPIO_Pin)
{
  if (GPIO_Pin == DW_IRQ_Pin)
  {
    dw_irq_count++;
    process_deca_irq();
  }
}
/* USER CODE END 4 */

void Error_Handler(void)
{
  __disable_irq();
  while (1)
  {
  }
}
